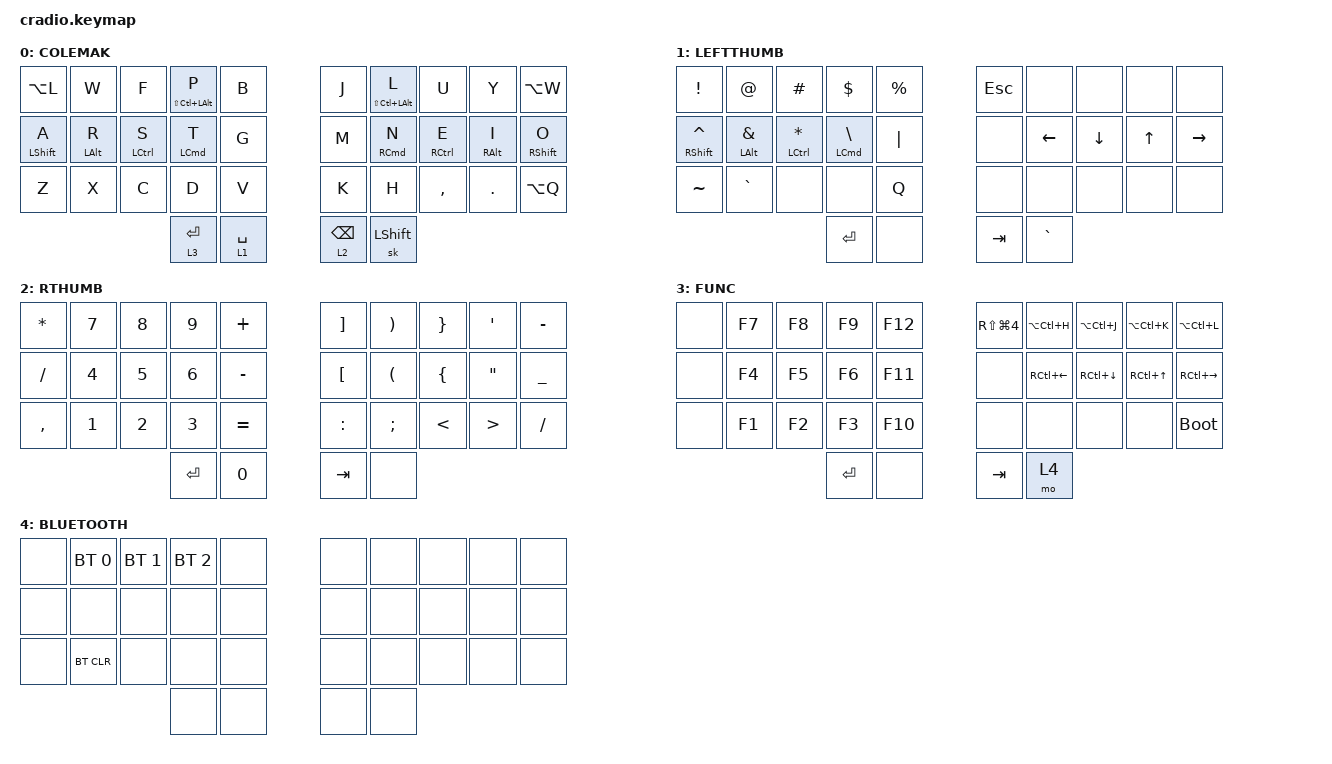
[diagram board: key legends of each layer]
/* spellchecker:disable */
#include <behaviors.dtsi>
#include <dt-bindings/zmk/bt.h>
#include <dt-bindings/zmk/keys.h>
#include <dt-bindings/zmk/outputs.h>
#include <dt-bindings/zmk/mouse.h>
#include <dt-bindings/zmk/rgb.h>


&sk {
    release-after-ms = <4000>;
    quick-release;
    lazy;
};

&lt {
    tapping-term-ms = <200>;
};

&mt {
    tapping-term-ms = <200>;
};

/ {
    chosen {
        zmk,charmap = &charmap_us;
    };
    behaviors {
        ht: hold_tap {
            label = "hold_tap";
            compatible = "zmk,behavior-hold-tap";
            #binding-cells = <2>;
            flavor = "tap-preferred";
            tapping-term-ms = <220>;
            quick-tap-ms = <150>;
            global-quick-tap;
            bindings = <&kp>, <&kp>;
            require-prior-idle-ms = <125>;
        };
        
    };

    keymap {
        compatible = "zmk,keymap";

        layer0 {
            display-name = "COLEMAK";
            bindings = <
&kp LA(L)    &kp W    &kp F    &ht LS(LC(LALT)) P    &kp B    &kp J    &ht LS(LC(LALT)) L    &kp U    &kp Y    &kp LA(W)
&ht LSHFT A    &ht LALT R    &ht LCTL S    &ht LCMD T    &kp G    &kp M    &ht RCMD N    &ht RCTL E    &ht RALT I    &ht RSHFT O
&kp Z    &kp X    &kp C    &kp D    &kp V    &kp K    &kp H    &kp COMMA    &kp DOT    &kp LA(Q)
            &lt 3 ENTER    &lt 1 SPACE            &lt 2 BSPC       &sk LSHFT
>;
        };

        layer1 {
            display-name = "LEFTTHUMB";
            bindings = <
&kp EXCL    &kp AT    &kp HASH    &kp DLLR    &kp PRCNT    &kp ESC    &none    &none    &none    &none
&ht RSHFT CARET    &ht LALT AMPS    &ht LCTL ASTRK    &ht LCMD BSLH    &kp PIPE    &none    &kp LEFT    &kp DOWN    &kp UP    &kp RIGHT
&kp TILDE    &kp GRAVE    &none    &none    &kp Q    &none    &none    &none    &none    &none
        &kp ENTER    &none        &kp TAB    &kp GRAVE 
>;
        };

        layer2 {
            display-name = "RTHUMB";
            bindings = <
&kp ASTRK    &kp N7    &kp N8    &kp N9    &kp PLUS    &kp RBKT    &kp RPAR    &kp RBRC    &kp SQT    &kp MINUS
&kp SLASH    &kp N4    &kp N5    &kp N6    &kp MINUS    &kp LBKT    &kp LPAR    &kp LBRC    &kp DQT    &kp UNDER
&kp COMMA    &kp N1    &kp N2    &kp N3    &kp EQL    &kp COLON    &kp SEMI    &kp LT    &kp GT    &kp SLASH
        &kp ENTER    &kp N0        &kp TAB    &none 
>;
        };

        layer3 {
            display-name = "FUNC";
            bindings = <
&none    &kp F7    &kp F8    &kp F9    &kp F12    &kp RS(LG(N4))    &kp LA(LC(H))    &kp LA(LC(J))    &kp LA(LC(K))    &kp LA(LC(L))
&none    &kp F4    &kp F5    &kp F6           &kp F11    &none            &kp RC(LEFT)       &kp RC(DOWN)       &kp RC(UP)       &kp RC(RIGHT)
&none           &kp F1    &kp F2           &kp F3    &kp F10    &none    &none    &none    &none    &bootloader
&kp ENTER      &none        &kp TAB            &mo 4 
>;
        };
        layer4 {
            display-name = "BLUETOOTH";
            bindings = <
&none    &bt BT_SEL 0    &bt BT_SEL 1    &bt BT_SEL 2    &none    &none    &none    &none    &none    &none
&none    &none    &none    &none           &none    &none            &none       &none       &none       &none
&none           &bt BT_CLR    &none           &none    &none    &none    &none    &none    &none    &none
&none      &none        &none            &none 
>;
        };
    };
};
